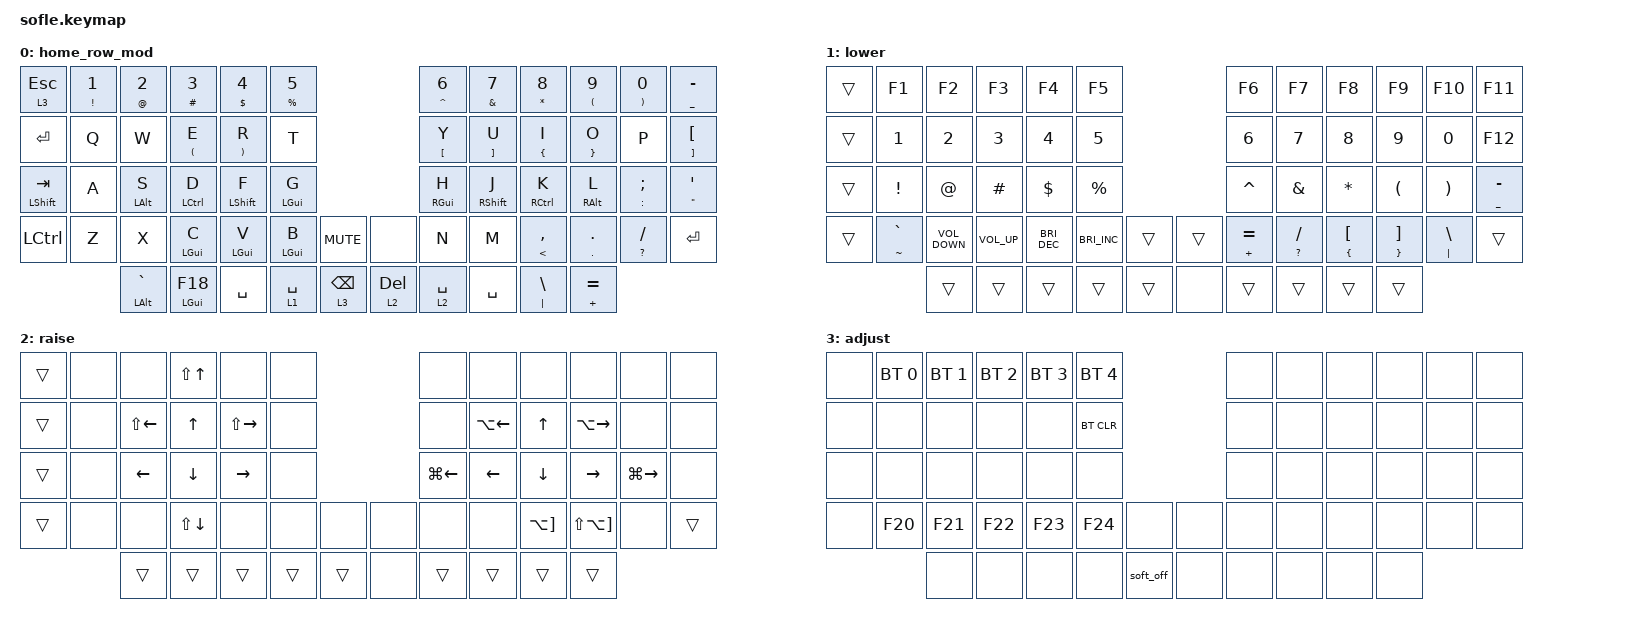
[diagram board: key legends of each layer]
/*
 * Copyright (c) 2020 The ZMK Contributors
 *
 * SPDX-License-Identifier: MIT
 */

#include <behaviors.dtsi>
#include <dt-bindings/zmk/bt.h>
#include <dt-bindings/zmk/keys.h>

#define BASE 0
#define LOWER 1
#define RAISE 2
#define ADJUST 3

/ {
    // Activate ADJUST layer by pressing raise and lower

    conditional_layers { compatible = "zmk,conditional-layers"; };

    behaviors {
        autoshift: autoshift {
            compatible = "zmk,behavior-hold-tap";
            label = "AUTOSHIFT";
            bindings = <&kp>, <&kp>;

            #binding-cells = <2>;
            tapping-term-ms = <250>;
            quick-tap-ms = <0>;
            flavor = "tap-preferred";
        };

        hr_mod: hr_mod {
            compatible = "zmk,behavior-hold-tap";
            label = "HR_MOD";
            bindings = <&kp>, <&kp>;

            #binding-cells = <2>;
            tapping-term-ms = <200>;
            quick-tap-ms = <0>;
            flavor = "tap-preferred";
        };
    };

    combos {
        compatible = "zmk,combos";

        PrevLanguage1 {
            bindings = <&kp F17>;
            key-positions = <3 4>;
        };

        PrevLanguage2 {
            bindings = <&kp F17>;
            key-positions = <7 8>;
        };

        NextLanguage1 {
            bindings = <&kp F18>;
            key-positions = <2 3>;
        };

        NextLanguage2 {
            bindings = <&kp F18>;
            key-positions = <8 9>;
        };
    };

    keymap {
        compatible = "zmk,keymap";

        home_row_mod {
            bindings = <
&lt 3 ESCAPE        &autoshift EXCLAMATION N1  &autoshift AT_SIGN N2  &autoshift HASH N3             &autoshift DOLLAR N4            &autoshift PERCENT N5                                   &autoshift CARET N6        &autoshift AMPERSAND N7     &autoshift ASTRK N8         &autoshift LEFT_PARENTHESIS N9  &autoshift RIGHT_PARENTHESIS N0  &autoshift UNDERSCORE MINUS
&kp ENTER           &kp Q                      &kp W                  &autoshift LEFT_PARENTHESIS E  &autoshift RIGHT_PARENTHESIS R  &kp T                                                   &autoshift LEFT_BRACKET Y  &autoshift RIGHT_BRACKET U  &autoshift LEFT_BRACE I     &autoshift RIGHT_BRACE O        &kp P                            &autoshift RIGHT_BRACKET LEFT_BRACKET
&mt LEFT_SHIFT TAB  &kp A                      &hr_mod LEFT_ALT S     &hr_mod LEFT_CONTROL D         &hr_mod LEFT_SHIFT F            &hr_mod LEFT_GUI G                                      &hr_mod RIGHT_GUI H        &hr_mod RIGHT_SHIFT J       &hr_mod RIGHT_CONTROL K     &hr_mod RIGHT_ALT L             &autoshift COLON SEMICOLON       &autoshift DOUBLE_QUOTES SQT
&kp LCTRL           &kp Z                      &kp X                  &hr_mod LEFT_GUI C             &hr_mod LEFT_GUI V              &hr_mod LEFT_GUI B     &kp C_MUTE         &none         &kp N                      &kp M                       &autoshift LESS_THAN COMMA  &autoshift DOT DOT              &autoshift QUESTION SLASH        &kp ENTER
                                               &mt LEFT_ALT GRAVE     &mt LEFT_GUI F18               &kp SPACE                       &lt 1 SPACE            &lt 3 BACKSPACE    &lt 2 DELETE  &lt 2 SPACE                &kp SPACE                   &mt PIPE BACKSLASH          &mt PLUS EQUAL
            >;
        };

        lower_layer {
            display-name = "lower";

            // TODO: Some binds are waiting for shifted keycode support.
            // ------------------------------------------------------------------------------------------------------------
            // |       |  F1 |  F2 |  F3  |  F4  |  F5  |                   |  F6  |  F7   |  F8   |  F9  |  F10  |  F11  |
            // |   `   |  1  |  2  |  3   |  4   |  5   |                   |  6   |  7    |  8    |  9   |   0   |  F12  |
            // |       |  !  |  @  |  #   |  $   |  %   |                   |  ^   |  &    |  *    |  (   |   )   |   |   |
            // |       |  =  |  -  |  +   |  {   |  }   |        |  |       |  [   |  ]    |  ;    |  :   |   \   |       |
            //               |     |      |      |      |        |  |       |      |       |       |      |

            bindings = <
&trans  &kp F1                  &kp F2             &kp F3           &kp F4                &kp F5                                  &kp F6                 &kp F7                     &kp F8                              &kp F9                                &kp F10                    &kp F11
&trans  &kp N1                  &kp N2             &kp N3           &kp N4                &kp N5                                  &kp N6                 &kp N7                     &kp N8                              &kp N9                                &kp N0                     &kp F12
&trans  &kp EXCL                &kp AT             &kp HASH         &kp DLLR              &kp PRCNT                               &kp CARET              &kp AMPS                   &kp ASTRK                           &kp LPAR                              &kp RPAR                   &autoshift UNDERSCORE MINUS
&trans  &autoshift TILDE GRAVE  &kp C_VOLUME_DOWN  &kp C_VOLUME_UP  &kp C_BRIGHTNESS_DEC  &kp C_BRIGHTNESS_INC  &trans    &trans  &autoshift PLUS EQUAL  &autoshift QUESTION SLASH  &autoshift LEFT_BRACE LEFT_BRACKET  &autoshift RIGHT_BRACE RIGHT_BRACKET  &autoshift PIPE BACKSLASH  &trans
                                &trans             &trans           &trans                &trans                &trans    &none   &trans                 &trans                     &trans                              &trans
            >;
        };

        raise_layer {
            display-name = "raise";

            // ------------------------------------------------------------------------------------------------------------
            // | BTCLR | BT1  | BT2  |  BT3  |  BT4  |  BT5 |                |      |      |       |      |       |       |
            // |       | INS  | PSCR | GUI   |       |      |                | PGUP |      |   ^   |      |       |       |
            // |       | ALT  | CTRL | SHIFT |       | CAPS |                | PGDN |   <- |   v   |  ->  |  DEL  | BKSPC |
            // |       | UNDO | CUT  | COPY  | PASTE |      |      |  |      |      |      |       |      |       |       |
            //                |      |       |       |      |      |  |      |      |      |       |      |

            bindings = <
&trans  &none  &none         &kp LS(UP)    &none          &none                    &none         &none         &none                  &none                      &none          &none
&trans  &none  &kp LS(LEFT)  &kp UP        &kp LS(RIGHT)  &none                    &none         &kp LA(LEFT)  &kp UP                 &kp LA(RIGHT)              &none          &none
&trans  &none  &kp LEFT      &kp DOWN      &kp RIGHT      &none                    &kp LG(LEFT)  &kp LEFT      &kp DOWN               &kp RIGHT                  &kp LG(RIGHT)  &none
&trans  &none  &none         &kp LS(DOWN)  &none          &none   &none     &none  &none         &none         &kp LA(RIGHT_BRACKET)  &kp LS(LA(RIGHT_BRACKET))  &none          &trans
               &trans        &trans        &trans         &trans  &trans    &none  &trans        &trans        &trans                 &trans
            >;
        };

        adjust {
            bindings = <
&none  &bt BT_SEL 0  &bt BT_SEL 1  &bt BT_SEL 2  &bt BT_SEL 3  &bt BT_SEL 4                      &none  &none  &none  &none  &none  &none
&none  &none         &none         &none         &none         &bt BT_CLR                        &none  &none  &none  &none  &none  &none
&none  &none         &none         &none         &none         &none                             &none  &none  &none  &none  &none  &none
&none  &kp F20       &kp F21       &kp F22       &kp F23       &kp F24       &none        &none  &none  &none  &none  &none  &none  &none
                     &none         &none         &none         &none         &soft_off    &none  &none  &none  &none  &none
            >;
        };
    };
};
